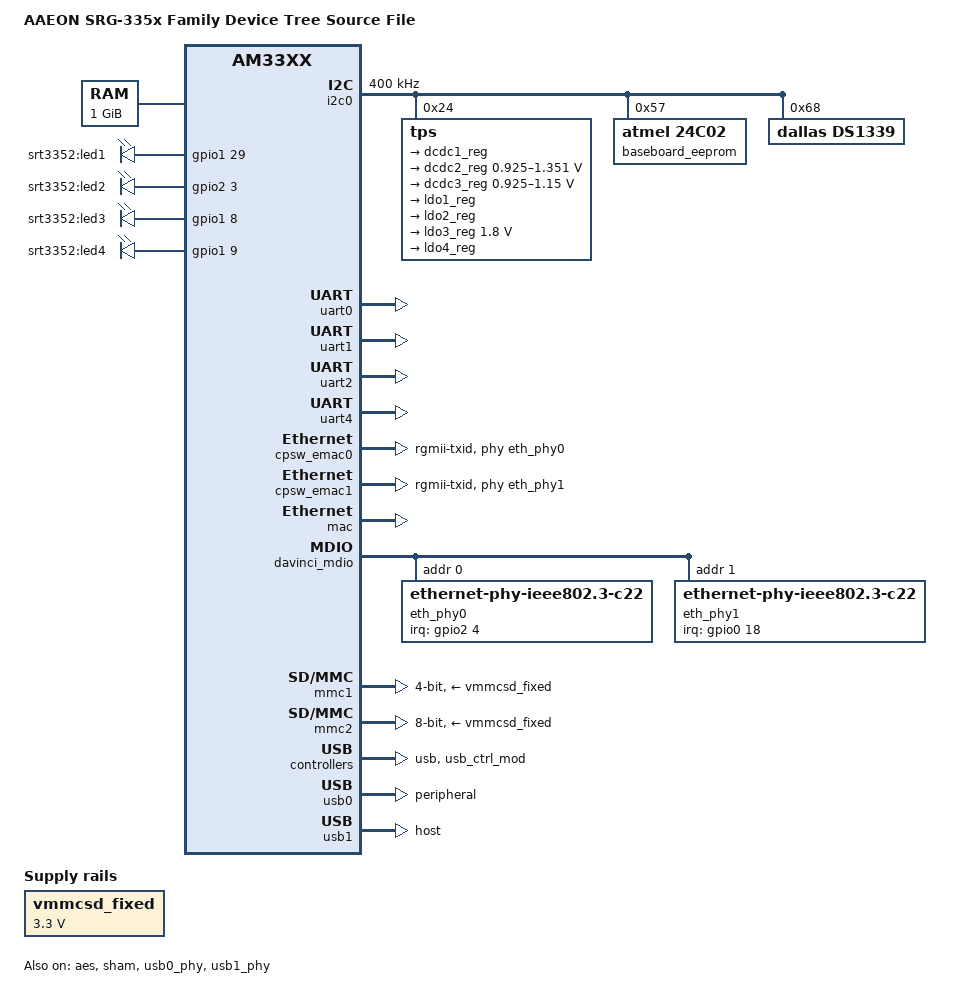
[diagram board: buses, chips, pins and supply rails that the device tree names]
// SPDX-License-Identifier: GPL-2.0
/*
 * Copyright (C) 2020 AAEON Technology Inc./LYD Inc.
 *
 * Authors: KunYi <kunyi.chen@gmail.com>
 *
 */

#include <dt-bindings/interrupt-controller/irq.h>

/ {
	model = "AAEON SRG-335x Family Device Tree Source File";
	compatible = "aaeon,srg-3352c", "aaeon,srg-3352", "ti,am33xx";

	chosen {
		base_dtb = "am335x-srg52x.dts";
		base_dtb_timestamp = __TIMESTAMP__;
		stdout-path = &uart0;
	};

	cpus {
		cpu@0 {
			cpu0-supply = <&dcdc2_reg>;
		};
	};

	sdram: memory@80000000 {
		device_type = "memory";
		reg = <0x80000000 0x40000000>; /* 1 GB */
	};

	leds: user_leds {
		pinctrl-names = "default";
		pinctrl-0 = <&user_leds_s0>;

		compatible = "gpio-leds";

		led1 {
			label = "srt3352:led1";
			gpios = <&gpio1 29 GPIO_ACTIVE_HIGH>;
			linux,default-trigger = "none";
			default-state = "off";
		};

		led2 {
			label = "srt3352:led2";
			gpios = <&gpio2 3 GPIO_ACTIVE_HIGH>;
			linux,default-trigger = "none";
			default-state = "off";
		};

		led3 {
			label = "srt3352:led3";
			gpios = <&gpio1 8 GPIO_ACTIVE_HIGH>;
			linux,default-trigger = "none";
			default-state = "off";
		};

		led4 {
			label = "srt3352:led4";
			gpios = <&gpio1 9 GPIO_ACTIVE_HIGH>;
			linux,default-trigger = "none";
			default-state = "off";
		};
	};

	vmmcsd_fixed: fixedregulator0 {
		compatible = "regulator-fixed";
		regulator-name = "vmmcsd_fixed";
		regulator-min-microvolt = <3300000>;
		regulator-max-microvolt = <3300000>;
	};
};

&cpu0_opp_table {
	/*
	 * All PG 2.0 silicon may not support 1GHz but some of the early
	 * BeagleBone Blacks have PG 2.0 silicon which is guaranteed
	 * to support 1GHz OPP so enable it for PG 2.0 on this board.
	 */
	oppnitro-1000000000 {
		opp-supported-hw = <0x06 0x0100>;
	};
};

&am33xx_pinmux {
	pinctrl-names = "default";

	user_leds_s0: user_leds_s0 { /* user LED */
		pinctrl-single,pins = <
			AM33XX_PADCONF(AM335X_PIN_GPMC_CSN0,	PIN_OUTPUT_PULLDOWN, MUX_MODE7)	/* (V6) gpio1.29 */
			AM33XX_PADCONF(AM335X_PIN_GPMC_OEN_REN,	PIN_OUTPUT_PULLDOWN, MUX_MODE7)	/* (T7)	gpio2.3	*/
			AM33XX_PADCONF(AM335X_PIN_UART0_CTSN,	PIN_OUTPUT_PULLDOWN, MUX_MODE7)	/* (E18) gpio1.8 */
			AM33XX_PADCONF(AM335X_PIN_UART0_RTSN,	PIN_OUTPUT_PULLDOWN, MUX_MODE7)	/* (E17) gpio1.9 */
		>;
	};

	i2c0_pins: pinmux_i2c0_pins {
		pinctrl-single,pins = <
			AM33XX_PADCONF(AM335X_PIN_I2C0_SDA, PIN_INPUT_PULLUP, MUX_MODE0)		/* (C17) i2c0_sda	*/
			AM33XX_PADCONF(AM335X_PIN_I2C0_SDA, PIN_INPUT_PULLUP, MUX_MODE0)		/* (C16) i2c0_scl	*/
		>;
	};

	uart0_pins: pinmux_uart0_pins {	/* for internal console */
		pinctrl-single,pins = <
			AM33XX_PADCONF(AM335X_PIN_UART0_RXD, PIN_INPUT_PULLUP, MUX_MODE0)		/* (E15) uart0_rxd	*/
			AM33XX_PADCONF(AM335X_PIN_UART0_TXD, PIN_OUTPUT_PULLDOWN, MUX_MODE0) 	/* (E16) uart0_txd	*/
		>;
	};

	uart1_pins: pinmux_uart1_pins { /* for RS485 */
		pinctrl-single,pins = <
			AM33XX_PADCONF(AM335X_PIN_UART1_RXD, PIN_INPUT_PULLUP, MUX_MODE0)		/* (D16) uart1_rxd	*/
			AM33XX_PADCONF(AM335X_PIN_UART1_TXD, PIN_OUTPUT_PULLDOWN, MUX_MODE0) 	/* (D15) uart1_txd	*/
			AM33XX_PADCONF(AM335X_PIN_UART1_CTSN, PIN_INPUT, MUX_MODE0)				/* (D18) uart1_ctsn	*/
			AM33XX_PADCONF(AM335X_PIN_UART1_RTSN, PIN_OUTPUT, MUX_MODE0) 			/* (D17) uart1_rtsn	*/
		>;
	};

	uart2_pins: pinmux_uart2_pins { /* for UART */
		pinctrl-single,pins = <
			AM33XX_PADCONF(AM335X_PIN_SPI0_SCLK, PIN_INPUT_PULLUP, MUX_MODE1)		/* (T17) uart2_rxd	*/
			AM33XX_PADCONF(AM335X_PIN_SPI0_D0, PIN_OUTPUT_PULLDOWN, MUX_MODE1) 	/* (U17) uart2_txd	*/
		>;
	};

	uart4_pins: pinmux_uart4_pins { /* for RS485 */
		pinctrl-single,pins = <
			AM33XX_PADCONF(AM335X_PIN_GPMC_WAIT0, PIN_INPUT_PULLUP, MUX_MODE6)		/* (T17) uart4_rxd	*/
			AM33XX_PADCONF(AM335X_PIN_GPMC_WPN, PIN_OUTPUT_PULLDOWN, MUX_MODE6) 	/* (U17) uart4_txd	*/
		>;
	};

	uart5_pins_default: pinmux_uart1_pins_default { /* (Wl183x Bluetooth) */
		pinctrl-single,pins = <
			AM33XX_PADCONF(AM335X_PIN_MII1_COL, PIN_INPUT_PULLUP, MUX_MODE3)		/* (H16) uart5_rxd	*/
			AM33XX_PADCONF(AM335X_PIN_RMII1_REF_CLK, PIN_INPUT_PULLUP, MUX_MODE3)	/* (H18) uart5_txd	*/
			AM33XX_PADCONF(AM335X_PIN_MII1_CRS, PIN_INPUT, MUX_MODE3)				/* (H17) uart5_ctsn */
			AM33XX_PADCONF(AM335X_PIN_MII1_RX_ER, PIN_OUTPUT, MUX_MODE3)			/* (J15) uart5_rtsn	*/
		>;
	};

	cpsw_default: cpsw_default {
		pinctrl-single,pins = <
			/* Slave 1, RGMII with AR8033 */
			AM33XX_PADCONF(AM335X_PIN_MII1_TX_EN,	PIN_OUTPUT_PULLDOWN,	MUX_MODE2)	/* rgmii1_tctl	*/
			AM33XX_PADCONF(AM335X_PIN_MII1_RX_DV,	PIN_INPUT_PULLDOWN,		MUX_MODE2)	/* rgmii1_rctl	*/
			AM33XX_PADCONF(AM335X_PIN_MII1_TXD0,	PIN_OUTPUT_PULLDOWN,	MUX_MODE2)	/* rgmii1_txd0	*/
			AM33XX_PADCONF(AM335X_PIN_MII1_TXD1,	PIN_OUTPUT_PULLDOWN,	MUX_MODE2)	/* rgmii1_txd1	*/
			AM33XX_PADCONF(AM335X_PIN_MII1_TXD2,	PIN_OUTPUT_PULLDOWN,	MUX_MODE2)	/* rgmii1_txd2	*/
			AM33XX_PADCONF(AM335X_PIN_MII1_TXD3,	PIN_OUTPUT_PULLDOWN,	MUX_MODE2)	/* rgmii1_txd3	*/
			AM33XX_PADCONF(AM335X_PIN_MII1_TX_CLK,	PIN_OUTPUT_PULLDOWN,	MUX_MODE2)	/* rgmii1_tclk	*/
			AM33XX_PADCONF(AM335X_PIN_MII1_RXD0,	PIN_INPUT_PULLDOWN,		MUX_MODE2)	/* rgmii1_rxd0	*/
			AM33XX_PADCONF(AM335X_PIN_MII1_RXD1,	PIN_INPUT_PULLDOWN,		MUX_MODE2)	/* rgmii1_rxd1	*/
			AM33XX_PADCONF(AM335X_PIN_MII1_RXD2,	PIN_INPUT_PULLDOWN,		MUX_MODE2)	/* rgmii1_rxd2	*/
			AM33XX_PADCONF(AM335X_PIN_MII1_RXD3,	PIN_INPUT_PULLDOWN,		MUX_MODE2)	/* rgmii1_rxd3	*/
			AM33XX_PADCONF(AM335X_PIN_MII1_RX_CLK,	PIN_INPUT_PULLDOWN,		MUX_MODE2)	/* rgmii1_rclk	*/
			AM33XX_PADCONF(AM335X_PIN_GPMC_WEN,		PIN_INPUT_PULLUP,		MUX_MODE7)	/* gpio2.4		*/
			/* Slave 2, RGMII with AR8033 */
			AM33XX_PADCONF(AM335X_PIN_GPMC_A0,		PIN_OUTPUT_PULLDOWN,	MUX_MODE2)	/* rgmii2_tctl	*/
			AM33XX_PADCONF(AM335X_PIN_GPMC_A1,		PIN_INPUT_PULLDOWN,		MUX_MODE2)	/* rgmii2_tctl	*/
			AM33XX_PADCONF(AM335X_PIN_GPMC_A5,		PIN_OUTPUT_PULLDOWN,	MUX_MODE2)	/* rgmii2_txd0	*/
			AM33XX_PADCONF(AM335X_PIN_GPMC_A4,		PIN_OUTPUT_PULLDOWN,	MUX_MODE2)	/* rgmii2_txd1	*/
			AM33XX_PADCONF(AM335X_PIN_GPMC_A3,		PIN_OUTPUT_PULLDOWN,	MUX_MODE2)	/* rgmii2_txd2	*/
			AM33XX_PADCONF(AM335X_PIN_GPMC_A2,		PIN_OUTPUT_PULLDOWN,	MUX_MODE2)	/* rgmii2_txd3	*/
			AM33XX_PADCONF(AM335X_PIN_GPMC_A6,		PIN_OUTPUT_PULLDOWN,	MUX_MODE2)	/* rgmii2_tclk	*/
			AM33XX_PADCONF(AM335X_PIN_GPMC_A11,		PIN_INPUT_PULLDOWN,		MUX_MODE2)	/* rgmii2_rxd0	*/
			AM33XX_PADCONF(AM335X_PIN_GPMC_A10,		PIN_INPUT_PULLDOWN,		MUX_MODE2)	/* rgmii2_rxd1	*/
			AM33XX_PADCONF(AM335X_PIN_GPMC_A9,		PIN_INPUT_PULLDOWN,		MUX_MODE2)	/* rgmii2_rxd2	*/
			AM33XX_PADCONF(AM335X_PIN_GPMC_A8,		PIN_INPUT_PULLDOWN,		MUX_MODE2)	/* rgmii2_rxd3	*/
			AM33XX_PADCONF(AM335X_PIN_GPMC_A7,		PIN_INPUT_PULLDOWN,		MUX_MODE2)	/* rgmii2_rclk	*/
			AM33XX_PADCONF(AM335X_PIN_USB0_DRVVBUS, PIN_INPUT_PULLUP, 		MUX_MODE7)	/* gpio0.18		*/
		>;
	};

	cpsw_sleep: cpsw_sleep {
		pinctrl-single,pins = <
			/* Slave 1, reset value	*/
			AM33XX_PADCONF(AM335X_PIN_MII1_TX_EN,	PIN_INPUT_PULLDOWN,	MUX_MODE7)	/* rgmii1_tctl	*/
			AM33XX_PADCONF(AM335X_PIN_MII1_RX_DV,	PIN_INPUT_PULLDOWN,	MUX_MODE7)	/* rgmii1_rctl	*/
			AM33XX_PADCONF(AM335X_PIN_MII1_TXD0,	PIN_INPUT_PULLDOWN,	MUX_MODE7)	/* rgmii1_txd0	*/
			AM33XX_PADCONF(AM335X_PIN_MII1_TXD1,	PIN_INPUT_PULLDOWN,	MUX_MODE7)	/* rgmii1_txd1	*/
			AM33XX_PADCONF(AM335X_PIN_MII1_TXD2,	PIN_INPUT_PULLDOWN,	MUX_MODE7)	/* rgmii1_txd2	*/
			AM33XX_PADCONF(AM335X_PIN_MII1_TXD3,	PIN_INPUT_PULLDOWN,	MUX_MODE7)	/* rgmii1_txd3	*/
			AM33XX_PADCONF(AM335X_PIN_MII1_TX_CLK,	PIN_INPUT_PULLDOWN,	MUX_MODE7)	/* rgmii1_tclk	*/
			AM33XX_PADCONF(AM335X_PIN_MII1_RXD0,	PIN_INPUT_PULLDOWN,	MUX_MODE7)	/* rgmii1_rxd0	*/
			AM33XX_PADCONF(AM335X_PIN_MII1_RXD1,	PIN_INPUT_PULLDOWN,	MUX_MODE7)	/* rgmii1_rxd1	*/
			AM33XX_PADCONF(AM335X_PIN_MII1_RXD2,	PIN_INPUT_PULLDOWN,	MUX_MODE7)	/* rgmii1_rxd2	*/
			AM33XX_PADCONF(AM335X_PIN_MII1_RXD3,	PIN_INPUT_PULLDOWN,	MUX_MODE7)	/* rgmii1_rxd3	*/
			AM33XX_PADCONF(AM335X_PIN_MII1_RX_CLK,	PIN_INPUT_PULLDOWN,	MUX_MODE7)	/* rgmii1_rclk	*/
			AM33XX_PADCONF(AM335X_PIN_GPMC_WEN,		PIN_INPUT_PULLDOWN,	MUX_MODE7)	/* gpio2.4		*/
			/* Slave 2, reset value	*/
			AM33XX_PADCONF(AM335X_PIN_GPMC_A0,		PIN_INPUT_PULLDOWN,	MUX_MODE7)	/* rgmii2_tctl	*/
			AM33XX_PADCONF(AM335X_PIN_GPMC_A1,		PIN_INPUT_PULLDOWN,	MUX_MODE7)	/* rgmii2_tctl	*/
			AM33XX_PADCONF(AM335X_PIN_GPMC_A5,		PIN_INPUT_PULLDOWN,	MUX_MODE7)	/* rgmii2_txd0	*/
			AM33XX_PADCONF(AM335X_PIN_GPMC_A4,		PIN_INPUT_PULLDOWN,	MUX_MODE7)	/* rgmii2_txd1	*/
			AM33XX_PADCONF(AM335X_PIN_GPMC_A3,		PIN_INPUT_PULLDOWN,	MUX_MODE7)	/* rgmii2_txd2	*/
			AM33XX_PADCONF(AM335X_PIN_GPMC_A2,		PIN_INPUT_PULLDOWN,	MUX_MODE7)	/* rgmii2_txd3	*/
			AM33XX_PADCONF(AM335X_PIN_GPMC_A6,		PIN_INPUT_PULLDOWN,	MUX_MODE7)	/* rgmii2_tclk	*/
			AM33XX_PADCONF(AM335X_PIN_GPMC_A11,		PIN_INPUT_PULLDOWN,	MUX_MODE7)	/* rgmii2_rxd0	*/
			AM33XX_PADCONF(AM335X_PIN_GPMC_A10,		PIN_INPUT_PULLDOWN,	MUX_MODE7)	/* rgmii2_rxd1	*/
			AM33XX_PADCONF(AM335X_PIN_GPMC_A9,		PIN_INPUT_PULLDOWN,	MUX_MODE7)	/* rgmii2_rxd2	*/
			AM33XX_PADCONF(AM335X_PIN_GPMC_A8,		PIN_INPUT_PULLDOWN,	MUX_MODE7)	/* rgmii2_rxd3	*/
			AM33XX_PADCONF(AM335X_PIN_GPMC_A7,		PIN_INPUT_PULLDOWN,	MUX_MODE7)	/* rgmii2_rclk	*/
			AM33XX_PADCONF(AM335X_PIN_USB0_DRVVBUS, PIN_INPUT_PULLDOWN, MUX_MODE7)	/* gpio0.18		*/
		>;
	};

	davinci_mdio_default: davinci_mdio_default {
		pinctrl-single,pins = <
			/* MDIO */
			AM33XX_PADCONF(AM335X_PIN_MDIO, PIN_INPUT_PULLUP | SLEWCTRL_FAST, MUX_MODE0)
			AM33XX_PADCONF(AM335X_PIN_MDC, PIN_OUTPUT_PULLUP, MUX_MODE0)
		>;
	};

	davinci_mdio_sleep: davinci_mdio_sleep {
		pinctrl-single,pins = <
			/* MDIO reset value */
			AM33XX_PADCONF(AM335X_PIN_MDIO, PIN_INPUT_PULLDOWN, MUX_MODE7)
			AM33XX_PADCONF(AM335X_PIN_MDC, PIN_INPUT_PULLDOWN, MUX_MODE7)
		>;
	};

	mmc1_pins: pinmux_mmc1_pins { /* micro SD slot */
		pinctrl-single,pins = <
			/* cd-pins */
			AM33XX_PADCONF(AM335X_PIN_SPI0_CS1, PIN_INPUT, MUX_MODE7)	/* gpio0.6	*/
		>;
	};

	emmc_pins: pinmux_emmc_pins {
		pinctrl-single,pins = <
			AM33XX_PADCONF(AM335X_PIN_GPMC_CSN1,	PIN_INPUT_PULLUP,	MUX_MODE2) /* mmc1_clk	*/
			AM33XX_PADCONF(AM335X_PIN_GPMC_CSN2,	PIN_INPUT_PULLUP,	MUX_MODE2) /* mmc1_cmd	*/
			AM33XX_PADCONF(AM335X_PIN_GPMC_AD0,		PIN_INPUT_PULLUP,	MUX_MODE1) /* mmc1_dat0	*/
			AM33XX_PADCONF(AM335X_PIN_GPMC_AD1,		PIN_INPUT_PULLUP,	MUX_MODE1) /* mmc1_dat1	*/
			AM33XX_PADCONF(AM335X_PIN_GPMC_AD2,		PIN_INPUT_PULLUP,	MUX_MODE1) /* mmc1_dat2	*/
			AM33XX_PADCONF(AM335X_PIN_GPMC_AD3,		PIN_INPUT_PULLUP,	MUX_MODE1) /* mmc1_dat3	*/
			AM33XX_PADCONF(AM335X_PIN_GPMC_AD4,		PIN_INPUT_PULLUP,	MUX_MODE1) /* mmc1_dat4	*/
			AM33XX_PADCONF(AM335X_PIN_GPMC_AD5,		PIN_INPUT_PULLUP,	MUX_MODE1) /* mmc1_dat5	*/
			AM33XX_PADCONF(AM335X_PIN_GPMC_AD6,		PIN_INPUT_PULLUP,	MUX_MODE1) /* mmc1_dat6	*/
			AM33XX_PADCONF(AM335X_PIN_GPMC_AD7,		PIN_INPUT_PULLUP,	MUX_MODE1) /* mmc1_dat7	*/
		>;
	};
};

&i2c0 {
	pinctrl-names = "default";
	pinctrl-0 = <&i2c0_pins>;

	status = "okay";
	clock-frequency = <400000>;

	tps: tps@24 {
		reg = <0x24>;
	};

	baseboard_eeprom: baseboard_eeprom@57 {
		compatible = "atmel,24c02";
		reg = <0x57>;
		/* read-only; */
		#address-cells = <1>;
		#size-cells = <1>;
		baseboard_data: baseboard_data@0 {
			reg = <0 0x100>;
		};
	};

	ds1339: rtc@68 {
		compatible = "dallas,ds1339";
		trickle-resistor-ohms = <250>;
		reg = <0x68>;
	};
};

/include/ "tps65217.dtsi"

&tps {
	/*
	 * Configure pmic to enter OFF-state instead of SLEEP-state ("RTC-only
	 * mode") at poweroff.  Most BeagleBone versions do not support RTC-only
	 * mode and risk hardware damage if this mode is entered.
	 *
	 * For details, see linux-omap mailing list May 2015 thread
	 *	[PATCH] ARM: dts: am335x-bone* enable pmic-shutdown-controller
	 * In particular, messages:
	 *	http://www.spinics.net/lists/linux-omap/msg118585.html
	 *	http://www.spinics.net/lists/linux-omap/msg118615.html
	 *
	 * You can override this later with
	 *	&tps {  /delete-property/ ti,pmic-shutdown-controller;  }
	 * if you want to use RTC-only mode and made sure you are not affected
	 * by the hardware problems. (Tip: double-check by performing a current
	 * measurement after shutdown: it should be less than 1 mA.)
	 */
	interrupts = <7>; /* NMI */
	interrupt-parent = <&intc>;

	ti,pmic-shutdown-controller;
	ti,pmic-usb-off;

	charger {
		status = "disabled";
	};

	pwrbutton {
		status = "disabled";
	};

	regulators {
		dcdc1_reg: regulator@0 {
			regulator-name = "vdds_dpr";
			regulator-always-on;
		};

		dcdc2_reg: regulator@1 {
			/* VDD_MPU voltage limits 0.95V - 1.26V with +/-4% tolerance */
			regulator-name = "vdd_mpu";
			regulator-min-microvolt = <925000>;
			regulator-max-microvolt = <1351500>;
			regulator-boot-on;
			regulator-always-on;
		};

		dcdc3_reg: regulator@2 {
			/* VDD_CORE voltage limits 0.95V - 1.1V with +/-4% tolerance */
			regulator-name = "vdd_core";
			regulator-min-microvolt = <925000>;
			regulator-max-microvolt = <1150000>;
			regulator-boot-on;
			regulator-always-on;
		};

		ldo1_reg: regulator@3 {
			regulator-name = "vio,vrtc,vdds";
			regulator-always-on;
		};

		ldo2_reg: regulator@4 {
			regulator-name = "vdd_3v3aux";
			regulator-always-on;
		};

		ldo3_reg: regulator@5 {
			regulator-name = "vdd_1v8";
			regulator-min-microvolt = <1800000>;
			regulator-max-microvolt = <1800000>;
			regulator-always-on;
		};

		ldo4_reg: regulator@6 {
			regulator-name = "vdd_3v3a";
			regulator-always-on;
		};
	};
};

&uart0 { /* for console */
	pinctrl-names = "default";
	pinctrl-0 = <&uart0_pins>;
	status = "okay";
};

&uart1 { /* for RS-485 COM1 */
	pinctrl-names = "default";
	pinctrl-0 = <&uart1_pins>;
	status = "okay";
};

&uart2 { /* for UART */
	pinctrl-names = "default";
	pinctrl-0 = <&uart2_pins>;
	status = "okay";
};

&uart4 { /* for RS-485 COM2 */
	pinctrl-names = "default";
	pinctrl-0 = <&uart4_pins>;
	status = "okay";
};

&uart5 { /* for WL183x Bluetooth */
	pinctrl-names = "default";
	pinctrl-0 = <&uart5_pins_default>;
};

&cpsw_emac0 {
	phy_id = <&davinci_mdio>, <0>;
	phy-handle = <&eth_phy0>;
	phy-mode = "rgmii-txid";
	dual_emac_res_vlan = <1>;
};

&cpsw_emac1 {
	phy_id = <&davinci_mdio>, <1>;
	phy-handle = <&eth_phy1>;
	phy-mode = "rgmii-txid";
	dual_emac_res_vlan = <2>;
};

&mac {
	pinctrl-names = "default", "sleep";
	pinctrl-0 = <&cpsw_default>;
	pinctrl-1 = <&cpsw_sleep>;
	dual_emac = <1>;
	status = "okay";
};

&davinci_mdio {
	pinctrl-names = "default", "sleep";
	pinctrl-0 = <&davinci_mdio_default>;
	pinctrl-1 = <&davinci_mdio_sleep>;
	status = "okay";

	eth_phy0: ethernet-phy@0 {	/* Atheros AR 8033 */
		interrupt-parent = <&gpio2>;
		interrupts = <4 IRQ_TYPE_LEVEL_LOW>;
		reg = <0>;
		compatible = "ethernet-phy-ieee802.3-c22";
		at803x,eee-disabled;
	};

	eth_phy1: ethernet-phy@1 {	/* Atheros AR 8033 */
		interrupt-parent = <&gpio0>;
		interrupts = <18 IRQ_TYPE_LEVEL_LOW>;
		reg = <1>;
		compatible = "ethernet-phy-ieee802.3-c22";
		at803x,eee-disabled;
	};
};

&mmc1 {
	vmmc-supply = <&vmmcsd_fixed>;
	pinctrl-names = "default";
	pinctrl-0 = <&mmc1_pins>;
	bus-width = <4>;
	/* cd-gpios = <&gpio0 6 GPIO_ACTIVE_LOW>; */
	broken-cd;
	status = "okay";
};

&mmc2 {
	vmmc-supply = <&vmmcsd_fixed>;
	pinctrl-names = "default";
	pinctrl-0 = <&emmc_pins>;
	bus-width = <8>;
	status = "okay";
};

&aes {
	status = "okay";
};

&sham {
	status = "okay";
};

&rtc {
	clocks = <&clk_32768_ck>, <&l4_per_clkctrl AM3_CLKDIV32K_CLKCTRL 0>;
	clock-names = "ext-clk", "int-clk";
	system-power-controller;
};

&wkup_m3_ipc {
	ti,scale-data-fw = "am335x-bone-scale-data.bin";
};

/* USB */
&cppi41dma {
	status = "okay";
};

&usb {
	status = "okay";
};

&usb_ctrl_mod {
	status = "okay";
};

&usb0_phy {
	status = "okay";
};

&usb0 {
	status = "okay";
	dr_mode = "peripheral";
};

&usb1_phy {
	status = "okay";
};

&usb1 {
	status = "okay";
	dr_mode = "host";
};
